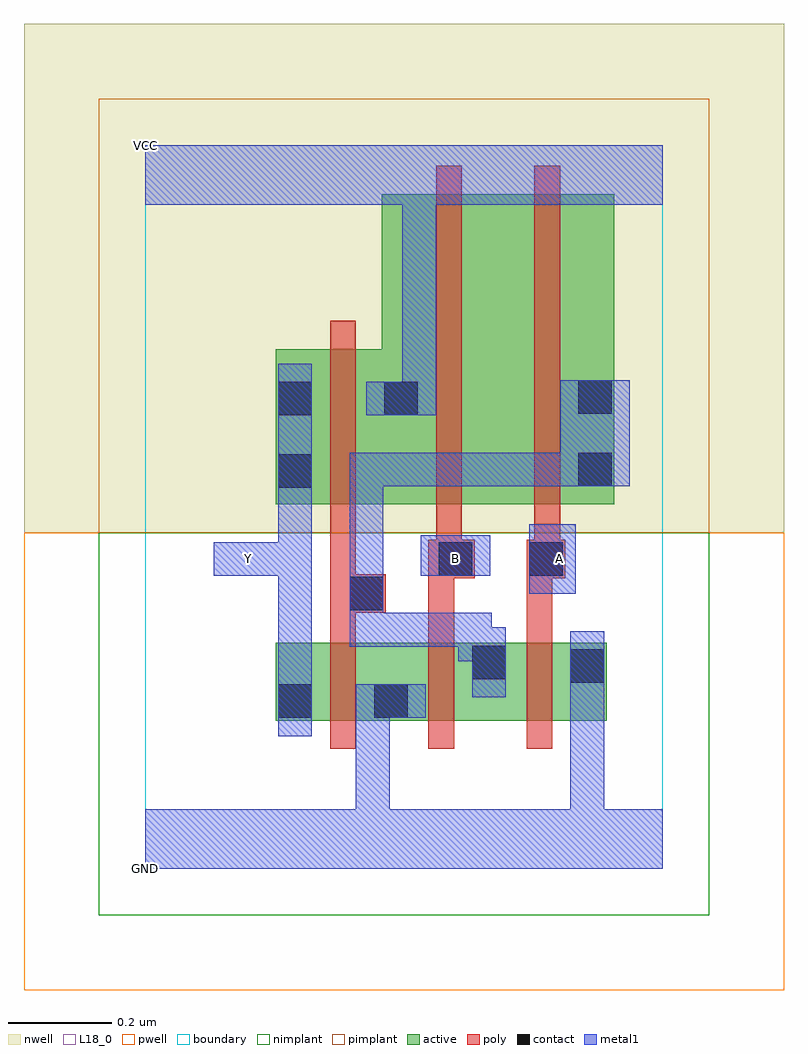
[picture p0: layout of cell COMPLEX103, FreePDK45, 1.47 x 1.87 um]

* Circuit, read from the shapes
.subckt COMPLEX103 A B GND VCC Y
M1 GND n1 Y VSUBS nfet w=0.15u l=0.05u
M2 n1 B GND VSUBS nfet w=0.15u l=0.05u
M3 GND A n1 VSUBS nfet w=0.15u l=0.05u
M4 VCC n1 Y n2 pfet w=0.3u l=0.05u
M5 n3 B VCC n2 pfet w=0.6u l=0.05u
M6 n1 A n3 n2 pfet w=0.6u l=0.05u
.ends

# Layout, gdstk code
import gdstk
lib = gdstk.Library(unit=1e-6, precision=1e-09)
def R(c, l, rs):  # rectangles x0, y0, x1, y1
    for r in rs: c.add(gdstk.rectangle(r[:2], r[2:], *l))
def A(c, l, x, y, w, h, nx, ny, dx, dy):  # array of equal rectangles
    R(c, l, [(x+i*dx, y+j*dy, x+i*dx+w, y+j*dy+h) for i in range(nx) for j in range(ny)])
active = (1, 0)
pwell = (2, 0)
nwell = (3, 0)
nimplant = (4, 0)
pimplant = (5, 0)
poly = (9, 0)
contact = (10, 0)
metal1 = (11, 0)
L18_0 = (18, 0)
boundary = (235, 0)

complex103 = lib.new_cell('COMPLEX103')
R(complex103, active, [(0.252,0.287,0.327,0.437), (0.252,0.287,0.512,0.437), (0.437,0.287,0.702,0.437), (0.437,0.287,0.512,0.362), (0.627,0.287,0.702,0.437), (0.627,0.287,0.892,0.437), (0.817,0.287,0.892,0.437), (0.252,0.705,0.532,1.005), (0.252,0.705,0.327,1.005), (0.457,0.705,0.682,1.305), (0.682,0.705,0.907,1.305), (0.832,0.705,0.907,1.2), (0.457,0.822,0.532,1.005)])
R(complex103, pwell, [(-0.235,-0.235,1.235,0.65)])
R(complex103, nwell, [(-0.235,0.65,1.235,1.635)])
R(complex103, nimplant, [(-0.09,-0.09,1.09,0.65)])
R(complex103, pimplant, [(-0.09,0.65,1.09,1.49)])
A(complex103, poly, 0.357, 0.232, 0.05, 0.26, 3, 1, 0.19, 0)
R(complex103, poly, [(0.357,0.442,0.407,0.545), (0.547,0.442,0.597,0.612), (0.737,0.442,0.787,0.612), (0.357,0.495,0.465,0.57), (0.357,0.52,0.407,0.7), (0.547,0.562,0.637,0.637), (0.737,0.562,0.812,0.637), (0.562,0.587,0.612,0.7), (0.752,0.587,0.802,0.7), (0.357,0.65,0.407,1.06), (0.562,0.65,0.612,1.36), (0.752,0.65,0.802,1.36)])
R(complex103, contact, [(0.257,0.292,0.322,0.357), (0.442,0.292,0.507,0.357), (0.822,0.36,0.887,0.425), (0.632,0.367,0.697,0.432), (0.395,0.5,0.46,0.565), (0.567,0.567,0.632,0.632), (0.742,0.567,0.807,0.632), (0.257,0.737,0.322,0.802), (0.837,0.74,0.902,0.805), (0.257,0.877,0.322,0.942), (0.462,0.877,0.527,0.942), (0.837,0.88,0.902,0.945)])
R(complex103, metal1, [(0,0,1,0.115), (0.407,0.05,0.472,0.115), (0.407,0.05,0.472,0.115), (0.407,0.05,0.472,0.357), (0.822,0.05,0.887,0.39), (0.257,0.257,0.322,0.392), (0.407,0.292,0.472,0.357), (0.407,0.292,0.472,0.357), (0.407,0.292,0.542,0.357), (0.822,0.325,0.887,0.39), (0.822,0.325,0.887,0.39), (0.822,0.325,0.887,0.39), (0.822,0.325,0.887,0.39), (0.822,0.325,0.887,0.46), (0.257,0.327,0.322,0.632), (0.632,0.332,0.697,0.467), (0.605,0.402,0.697,0.467), (0.605,0.402,0.67,0.495), (0.395,0.43,0.46,0.495), (0.395,0.43,0.67,0.495), (0.395,0.43,0.46,0.53), (0.395,0.465,0.46,0.53), (0.395,0.465,0.46,0.53), (0.395,0.465,0.46,0.6), (0.395,0.465,0.46,0.805), (0.742,0.532,0.832,0.667), (0.132,0.567,0.322,0.632), (0.257,0.567,0.322,0.767), (0.532,0.567,0.667,0.645), (0.257,0.702,0.322,0.977), (0.395,0.74,0.46,0.805), (0.395,0.74,0.67,0.805), (0.605,0.74,0.67,0.805), (0.605,0.74,0.67,0.805), (0.605,0.74,0.67,0.805), (0.605,0.74,0.867,0.805), (0.802,0.74,0.867,0.805), (0.802,0.74,0.867,0.805), (0.802,0.74,0.937,0.945), (0.427,0.877,0.562,0.942), (0.497,0.877,0.562,1.35), (0,1.285,1,1.4)])
R(complex103, L18_0, [(0,0,1,0.115), (0.407,0.05,0.472,0.115), (0.407,0.05,0.472,0.115), (0.407,0.05,0.472,0.357), (0.822,0.05,0.887,0.39), (0.257,0.257,0.322,0.392), (0.407,0.292,0.472,0.357), (0.407,0.292,0.472,0.357), (0.407,0.292,0.542,0.357), (0.822,0.325,0.887,0.46), (0.822,0.325,0.887,0.39), (0.822,0.325,0.887,0.39), (0.822,0.325,0.887,0.39), (0.822,0.325,0.887,0.39), (0.257,0.327,0.322,0.632), (0.742,0.532,0.832,0.667), (0.132,0.567,0.322,0.632), (0.167,0.567,0.232,0.632), (0.257,0.567,0.322,0.767), (0.532,0.567,0.667,0.645), (0.567,0.567,0.632,0.632), (0.767,0.567,0.832,0.632), (0.257,0.702,0.322,0.977), (0.427,0.877,0.562,0.942), (0.497,0.877,0.562,1.35), (0,1.285,1,1.4)])
R(complex103, boundary, [(0,0,1,1.4)])
complex103.add(gdstk.Label('A', (0.8,0.6), layer=11, texttype=0))
complex103.add(gdstk.Label('B', (0.6,0.6), layer=11, texttype=0))
complex103.add(gdstk.Label('Y', (0.2,0.6), layer=11, texttype=0))
complex103.add(gdstk.Label('VCC', (0,1.4), layer=11, texttype=0))
complex103.add(gdstk.Label('GND', (0,0), layer=11, texttype=0))

lib.write_gds('COMPLEX103.gds')
